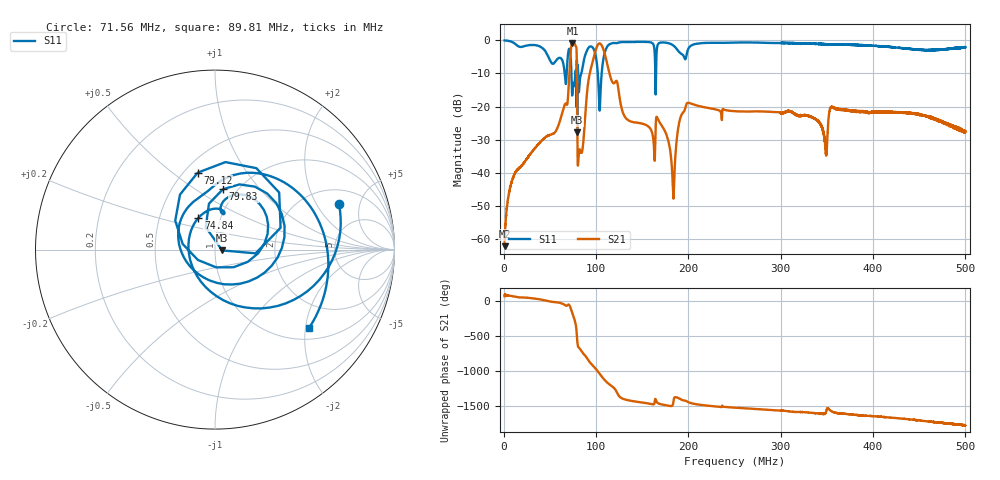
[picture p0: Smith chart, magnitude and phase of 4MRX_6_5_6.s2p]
! NanoVNA-App
! Date: 2026-08-19 15:06:31
! Start: 1MHz Stop: 500MHz Points: 6401
! S-Parameter data: F S11 S21 S12 S22
# Hz S RI R 50
!  Frequency  S11_Real  S11_Imag  S21_Real  S21_Imag  S12_Real  S12_Imag  S22_Real  S22_Imag
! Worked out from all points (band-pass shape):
!   6401 points, 1 MHz to 500 MHz, reference 50 ohm
!   highest |S21| = -0.83 dB at 74.45 MHz (marker M1); lowest = -62.2 dB at 1 MHz (marker M2)
!   |S21| within 3 dB of the highest: 72.47 MHz to 79.01 MHz (6.537 MHz wide, 8.63 % of centre); 98.77 MHz to 109.2 MHz (10.48 MHz wide, 10.1 % of centre)
!   lowest |S11| = -27.8 dB at 79.59 MHz (marker M3), VSWR 1.08, Z = 54.2 - j0.491 ohm
!   |S11| at or under -10 dB: 73.34 MHz to 77.52 MHz (4.182 MHz wide, 5.54 % of centre); 80.65 MHz to 84.04 MHz (3.392 MHz wide, 4.12 % of centre); 101.9 MHz to 106.1 MHz (4.191 MHz wide, 4.03 % of centre)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
!   S12 and S22 are empty: the file has one direction only
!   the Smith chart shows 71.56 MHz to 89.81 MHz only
!   S11 on the Smith chart (normalised r, x): 71.56 MHz: 2.88, +3.16; 74.84 MHz: 0.78, +0.29; 79.12 MHz: 0.58, +0.62; 79.83 MHz: 0.86, +0.65; 89.81 MHz: 1.29, -2.10
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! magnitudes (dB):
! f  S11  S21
! 1 MHz  0.0  -62.2
! 10.67 MHz  -0.7  -41.1
! 57.14 MHz  -6.0  -27.1
! 71.56 MHz  -2.7  -7.6
! 74.45 MHz  -15.8  -0.8
! 74.84 MHz  -14.0  -0.8
! 79.12 MHz  -7.1  -5.2
! 79.59 MHz  -27.8  -17.1
! 79.83 MHz  -9.4  -28.3
! 84.19 MHz  -9.9  -34.0
! 89.81 MHz  -3.3  -17.2
! 104.2 MHz  -20.2  -0.9
! 112 MHz  -1.9  -7.0
! 132.2 MHz  -0.5  -23.5
! 167.4 MHz  -1.0  -24.0
! 183.5 MHz  -1.5  -46.7
! 199.2 MHz  -3.0  -18.9
! 250.5 MHz  -0.6  -21.4
! 333.7 MHz  -1.0  -23.2
! 348.4 MHz  -1.1  -31.7
! 416.9 MHz  -2.0  -21.7
! 500 MHz  -2.0  -27.4
